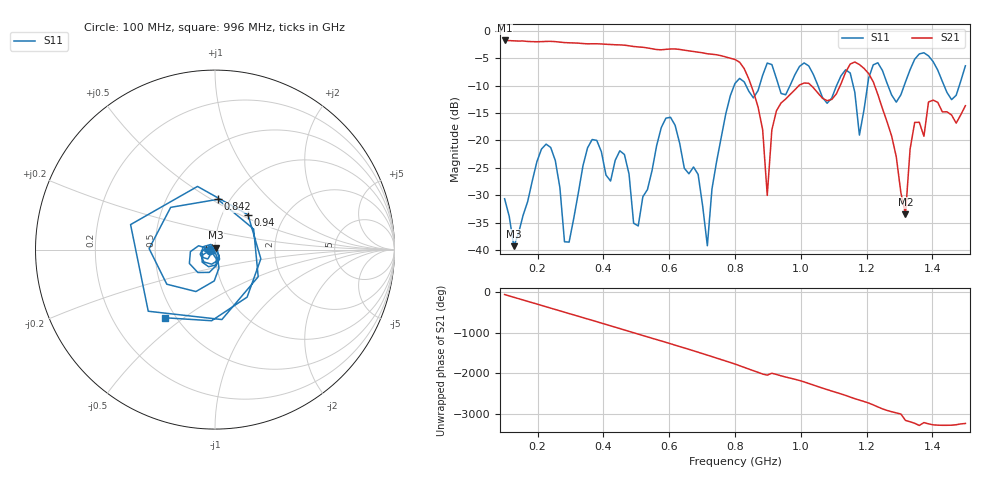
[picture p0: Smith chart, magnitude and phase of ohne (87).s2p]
! NanoVNA-App
! Date: 2025-09-26 09:56:04
! Start: 100MHz Stop: 1,5GHz Points: 101
! S-Parameter data: F S11 S21 S12 S22
# Hz S RI R 50
!  Frequency  S11_Real  S11_Imag  S21_Real  S21_Imag  S12_Real  S12_Imag  S22_Real  S22_Imag
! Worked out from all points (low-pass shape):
!   101 points, 100 MHz to 1.5 GHz, reference 50 ohm
!   highest |S21| = -1.79 dB at 100 MHz (marker M1); lowest = -33.4 dB at 1.318 GHz (marker M2)
!   |S21| within 3 dB of the highest: start of sweep to 771.7 MHz
!   lowest |S11| = -39.3 dB at 128 MHz (marker M3), VSWR 1.02, Z = 50.3 + j1.06 ohm
!   |S11| at or under -10 dB: start of sweep to 797.5 MHz; 833.4 MHz to 874.7 MHz (41.23 MHz wide, 4.83 % of centre); 1.052 GHz to 1.109 GHz (56.75 MHz wide, 5.25 % of centre)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
!   S12 and S22 are empty: the file has one direction only
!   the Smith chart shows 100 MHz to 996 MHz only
!   S11 on the Smith chart (normalised r, x): 100 MHz: 0.94, -0.01; 842 MHz: 0.88, +0.53; 940 MHz: 1.32, +0.55; 996 MHz: 0.44, -0.43
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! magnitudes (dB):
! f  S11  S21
! 100 MHz  -30.6  -1.8
! 128 MHz  -39.3  -1.9
! 212 MHz  -21.6  -2.0
! 282 MHz  -38.5  -2.2
! 338 MHz  -24.6  -2.4
! 464 MHz  -22.6  -2.6
! 506 MHz  -35.6  -3.0
! 576 MHz  -17.7  -3.5
! 716 MHz  -39.2  -4.2
! 800 MHz  -9.6  -5.3
! 842 MHz  -11.0  -8.8
! 898 MHz  -5.9  -30.0
! 940 MHz  -11.5  -13.2
! 996 MHz  -6.5  -9.9
! 1.038 GHz  -8.0  -10.4
! 1.15 GHz  -7.7  -6.1
! 1.178 GHz  -19.0  -6.2
! 1.22 GHz  -6.2  -9.3
! 1.276 GHz  -11.7  -19.2
! 1.318 GHz  -9.3  -33.4
! 1.346 GHz  -5.2  -16.7
! 1.5 GHz  -6.4  -13.7
